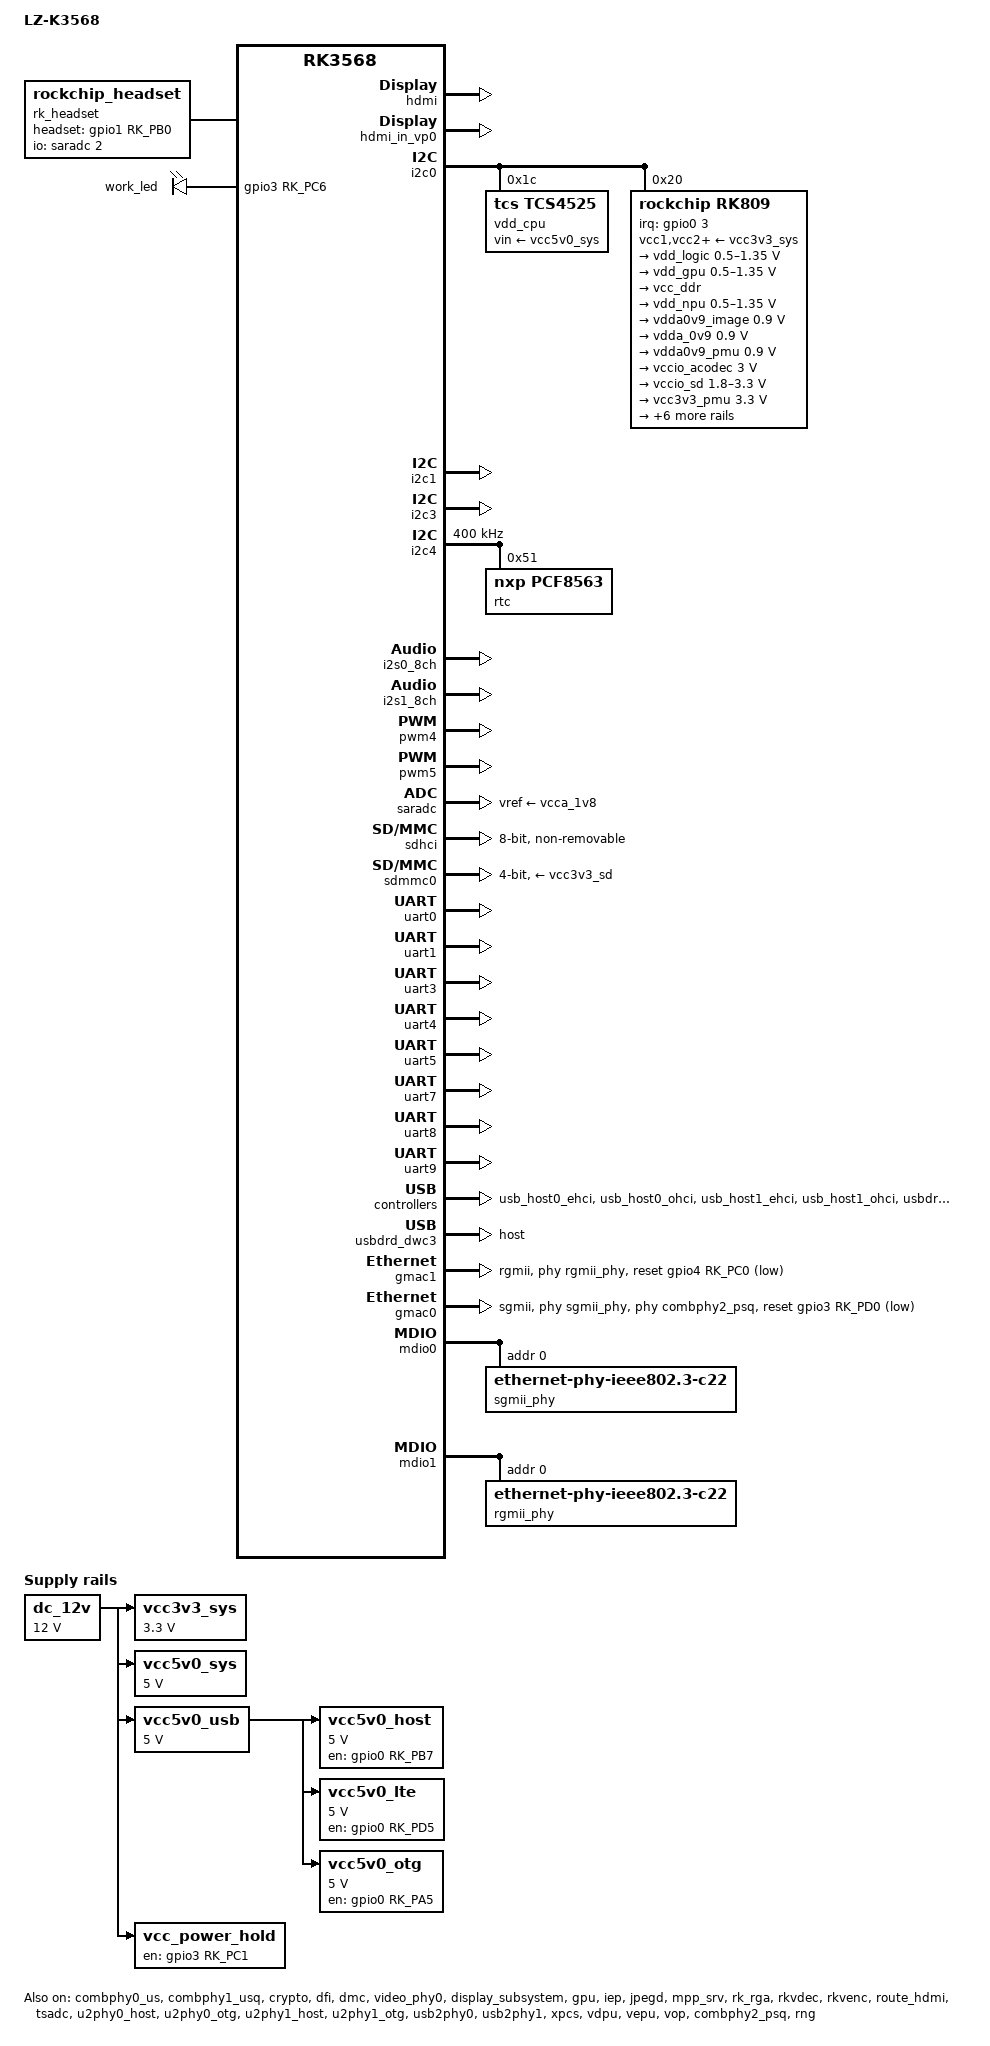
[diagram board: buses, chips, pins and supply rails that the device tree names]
/dts-v1/;
#include <dt-bindings/gpio/gpio.h>
#include <dt-bindings/pwm/pwm.h>
#include <dt-bindings/pinctrl/rockchip.h>
#include <dt-bindings/input/rk-input.h>
#include <dt-bindings/display/rockchip_vop.h>
#include <dt-bindings/sensor-dev.h>
#include "rk3568.dtsi"

#ifdef CONFIG_SYS_PROMPT
#include "rk3568-u-boot.dtsi"
#endif

/ {
	model = "LZ-K3568";
	compatible = "rockchip,rk3568-evb1-v10", "rockchip,rk3568";

	aliases {
		ethernet0 = &gmac0;
		ethernet1 = &gmac1;
		mmc0 = &sdhci;
		mmc1 = &sdmmc0;
		mmc2 = &sdmmc1;
	};

	chosen: chosen {
		bootargs = "earlycon=uart8250,mmio32,0xfe660000 console=ttyFIQ0";
	};

	fiq_debugger: fiq-debugger {
		compatible = "rockchip,fiq-debugger";
		rockchip,serial-id = <2>;
		rockchip,wake-irq = <0>;
		/* If enable uart uses irq instead of fiq */
		rockchip,irq-mode-enable = <1>;
		rockchip,baudrate = <1500000>;  /* Only 115200 and 1500000 */
		interrupts = <GIC_SPI 252 IRQ_TYPE_LEVEL_LOW>;
		pinctrl-names = "default";
		pinctrl-0 = <&uart2m0_xfer>;
		status = "okay";
	};

	debug: debug@fd904000 {
		compatible = "rockchip,debug";
		reg = <0x0 0xfd904000 0x0 0x1000>,
			<0x0 0xfd905000 0x0 0x1000>,
			<0x0 0xfd906000 0x0 0x1000>,
			<0x0 0xfd907000 0x0 0x1000>;
	};

	cspmu: cspmu@fd90c000 {
		compatible = "rockchip,cspmu";
		reg = <0x0 0xfd90c000 0x0 0x1000>,
			<0x0 0xfd90d000 0x0 0x1000>,
			<0x0 0xfd90e000 0x0 0x1000>,
			<0x0 0xfd90f000 0x0 0x1000>;
	};

	hdmi_sound: hdmi-sound {
		compatible = "simple-audio-card";
		simple-audio-card,format = "i2s";
		simple-audio-card,mclk-fs = <128>;
		simple-audio-card,name = "rockchip,hdmi";
		status = "okay";

		simple-audio-card,cpu {
				sound-dai = <&i2s0_8ch>;
		};
		simple-audio-card,codec {
				sound-dai = <&hdmi>;
		};
	};

	pdmics: dummy-codec {
		status = "disabled";
		compatible = "rockchip,dummy-codec";
		#sound-dai-cells = <0>;
	};

	pdm_mic_array: pdm-mic-array {
		status = "disabled";
		compatible = "simple-audio-card";
		simple-audio-card,name = "rockchip,pdm-mic-array";
		simple-audio-card,cpu {
			sound-dai = <&pdm>;
		};
		simple-audio-card,codec {
			sound-dai = <&pdmics>;
		};
	};

#ifndef CONFIG_SYS_PROMPT
	gmac0_xpcsclk: xpcs-gmac0-clock {
		compatible = "fixed-clock";
		clock-frequency = <125000000>;
		clock-output-names = "clk_gmac0_xpcs_mii";
		#clock-cells = <0>;
	};

	// reserved-memory {
	// 	#address-cells = <2>;
	// 	#size-cells = <2>;
	// 	ranges;

	// 	rknpu_reserved: rknpu {
	// 		compatible = "shared-dma-pool";
	// 		inactive;
	// 		reusable;
	// 		size = <0x0 0x20000000>;
	// 		alignment = <0x0 0x1000>;
	// 	};
	// };

	rk809_sound: rk809-sound {
		status = "okay";
		compatible = "simple-audio-card";
		simple-audio-card,format = "i2s";
		simple-audio-card,name = "rockchip,rk809-codec";
		simple-audio-card,mclk-fs = <256>;

		simple-audio-card,cpu {
			sound-dai = <&i2s1_8ch>;
		};
		simple-audio-card,codec {
			sound-dai = <&rk809_codec>;
		};
	};

	rk_headset: rk-headset {
		compatible = "rockchip_headset";
		headset_gpio = <&gpio1 RK_PB0 GPIO_ACTIVE_HIGH>;
		pinctrl-names = "default";
		pinctrl-0 = <&hp_det>;
		io-channels = <&saradc 2>;    //HP_HOOK pin
	};
#endif

	dc_12v: dc-12v {
		compatible = "regulator-fixed";
		regulator-name = "dc_12v";
		regulator-always-on;
		regulator-boot-on;
		regulator-min-microvolt = <12000000>;
		regulator-max-microvolt = <12000000>;
	};

	vcc3v3_sys: vcc3v3-sys {
		compatible = "regulator-fixed";
		regulator-name = "vcc3v3_sys";
		regulator-always-on;
		regulator-boot-on;
		regulator-min-microvolt = <3300000>;
		regulator-max-microvolt = <3300000>;
		vin-supply = <&dc_12v>;
	};

	vcc5v0_sys: vcc5v0-sys {
		compatible = "regulator-fixed";
		regulator-name = "vcc5v0_sys";
		regulator-always-on;
		regulator-boot-on;
		regulator-min-microvolt = <5000000>;
		regulator-max-microvolt = <5000000>;
		vin-supply = <&dc_12v>;
	};

	vcc5v0_usb: vcc5v0-usb {
		compatible = "regulator-fixed";
		regulator-name = "vcc5v0_usb";
		regulator-always-on;
		regulator-boot-on;
		regulator-min-microvolt = <5000000>;
		regulator-max-microvolt = <5000000>;
		vin-supply = <&dc_12v>;
	};

	vcc5v0_host: vcc5v0-host-regulator {
		compatible = "regulator-fixed";
		enable-active-high;
		gpio = <&gpio0 RK_PB7 GPIO_ACTIVE_HIGH>; // bsp
		pinctrl-names = "default";
		pinctrl-0 = <&vcc5v0_host_en>;
		regulator-name = "vcc5v0_host";
		regulator-min-microvolt = <5000000>;
		regulator-max-microvolt = <5000000>;
		vin-supply = <&vcc5v0_usb>;
	};

	vcc5v0_lte: vcc5v0-lte-regulator {
		compatible = "regulator-fixed";
		enable-active-high;
		regulator-always-on;
		gpio = <&gpio0 RK_PD5 GPIO_ACTIVE_HIGH>; // bsp
		pinctrl-names = "default";
		pinctrl-0 = <&vcc5v0_lte_en>;
		regulator-name = "vcc5v0_lte";
		regulator-min-microvolt = <5000000>;
		regulator-max-microvolt = <5000000>;
		vin-supply = <&vcc5v0_usb>;
	};

	vcc5v0_otg: vcc5v0-otg-regulator {
		compatible = "regulator-fixed";
		enable-active-high;
		regulator-always-on;
		gpio = <&gpio0 RK_PA5 GPIO_ACTIVE_HIGH>; // bsp
		pinctrl-names = "default";
		pinctrl-0 = <&vcc5v0_otg_en>;
		regulator-name = "vcc5v0_otg";
		regulator-min-microvolt = <5000000>;
		regulator-max-microvolt = <5000000>;
		vin-supply = <&vcc5v0_usb>;
	};

	vcc_power_hold: regulator-vcc-power-hold {
		compatible = "regulator-fixed";
		enable-active-high;
		regulator-always-on;
		gpio = <&gpio3 RK_PC1 GPIO_ACTIVE_HIGH>; // bsp
		pinctrl-names = "default";
		pinctrl-0 = <&hold_gpio>;
		regulator-name = "vcc_power_hold";
		vin-supply = <&dc_12v>;
	};

	gpio_leds: gpio-leds {
		compatible = "gpio-leds";
		status = "okay";

		work_led: work-led {
			gpios = <&gpio3 RK_PC6 GPIO_ACTIVE_HIGH>; // bsp
			linux,default-trigger = "heartbeat";
			pinctrl-names = "default";
			pinctrl-0 = <&led_work_en>;
		};
	};
};

&combphy0_us {
	status = "okay";
};

&combphy1_usq {
	status = "okay";
};

&cpu0 {
	cpu-supply = <&vdd_cpu>;
};

&crypto {
        status = "okay";
};

#ifndef CONFIG_SYS_PROMPT
&dfi {
	status = "okay";
};

&dmc {
	center-supply = <&vdd_logic>;
	status = "okay";
};
#endif

&video_phy0 {
	status = "okay";
};

&video_phy1 {
	status = "disabled";
};

&display_subsystem {
    status = "okay";
};

&gpu {
	clock-names = "gpu", "bus";
	interrupt-names = "gpu", "mmu", "job";
	mali-supply = <&vdd_gpu>;
	status = "okay";
};

&hdmi {
	status = "okay";
	pinctrl-0 = <&hdmitx_scl &hdmitx_sda &hdmitxm1_cec>;
};

&hdmi_in_vp0 {
	status = "okay";
};

&hdmi_in_vp1 {
	status = "disabled";
};

&hdmi_sound {
	status = "okay";
};

&i2c0 {
	status = "okay";

	vdd_cpu: tcs4525@1c {
		compatible = "tcs,tcs4525";
		reg = <0x1c>;
		vin-supply = <&vcc5v0_sys>;
		regulator-compatible = "fan53555-reg";
		regulator-name = "vdd_cpu";
		regulator-min-microvolt = <712500>;
		regulator-max-microvolt = <1390000>;
		regulator-init-microvolt = <900000>;
		regulator-ramp-delay = <2300>;
		fcs,suspend-voltage-selector = <1>;
		regulator-boot-on;
		regulator-always-on;
		
		regulator-state-mem {
			regulator-off-in-suspend;
		};
	};

	rk809: pmic@20 {
		compatible = "rockchip,rk809";
		reg = <0x20>;
		interrupt-parent = <&gpio0>;
		interrupts = <3 IRQ_TYPE_LEVEL_LOW>;

		pinctrl-names = "default", "pmic-sleep",
				"pmic-power-off", "pmic-reset";
		pinctrl-0 = <&pmic_int>;
		pinctrl-1 = <&soc_slppin_slp>, <&rk817_slppin_slp>;
		pinctrl-2 = <&soc_slppin_gpio>, <&rk817_slppin_pwrdn>;
		pinctrl-3 = <&soc_slppin_gpio>, <&rk817_slppin_rst>;

		rockchip,system-power-controller;
		wakeup-source;
		#clock-cells = <1>;
		clock-output-names = "rk808-clkout1", "rk808-clkout2";
		//fb-inner-reg-idxs = <2>;
		/* 1: rst regs (default in codes), 0: rst the pmic */
		pmic-reset-func = <0>;
		/* not save the PMIC_POWER_EN register in uboot */
		not-save-power-en = <1>;

		vcc1-supply = <&vcc3v3_sys>;
		vcc2-supply = <&vcc3v3_sys>;
		vcc3-supply = <&vcc3v3_sys>;
		vcc4-supply = <&vcc3v3_sys>;
		vcc5-supply = <&vcc3v3_sys>;
		vcc6-supply = <&vcc3v3_sys>;
		vcc7-supply = <&vcc3v3_sys>;
		vcc8-supply = <&vcc3v3_sys>;
		vcc9-supply = <&vcc3v3_sys>;

		pwrkey {
			status = "okay";
		};

		pinctrl_rk8xx: pinctrl_rk8xx {
			gpio-controller;
			#gpio-cells = <2>;

			rk817_slppin_null: rk817_slppin_null {
				pins = "gpio_slp";
				function = "pin_fun0";
			};

			rk817_slppin_slp: rk817_slppin_slp {
				pins = "gpio_slp";
				function = "pin_fun1";
			};

			rk817_slppin_pwrdn: rk817_slppin_pwrdn {
				pins = "gpio_slp";
				function = "pin_fun2";
			};

			rk817_slppin_rst: rk817_slppin_rst {
				pins = "gpio_slp";
				function = "pin_fun3";
			};
		};

		regulators {
			vdd_logic: DCDC_REG1 {
				regulator-always-on;
				regulator-boot-on;
				regulator-min-microvolt = <500000>;
				regulator-max-microvolt = <1350000>;
				regulator-init-microvolt = <900000>;
				regulator-ramp-delay = <6001>;
				regulator-initial-mode = <0x2>;
				regulator-name = "vdd_logic";
				regulator-state-mem {
					regulator-off-in-suspend;
				};
			};

			vdd_gpu: DCDC_REG2 {
				regulator-always-on;
				regulator-boot-on;
				regulator-min-microvolt = <500000>;
				regulator-max-microvolt = <1350000>;
				regulator-init-microvolt = <900000>;
				regulator-ramp-delay = <6001>;
				regulator-initial-mode = <0x2>;
				regulator-name = "vdd_gpu";
				regulator-state-mem {
					regulator-off-in-suspend;
				};
			};

			vcc_ddr: DCDC_REG3 {
				regulator-always-on;
				regulator-boot-on;
				regulator-initial-mode = <0x2>;
				regulator-name = "vcc_ddr";
				regulator-state-mem {
					regulator-on-in-suspend;
				};
			};

			vdd_npu: DCDC_REG4 {
				regulator-always-on;
				regulator-boot-on;
				regulator-min-microvolt = <500000>;
				regulator-max-microvolt = <1350000>;
				regulator-init-microvolt = <900000>;
				regulator-ramp-delay = <6001>;
				regulator-initial-mode = <0x2>;
				regulator-name = "vdd_npu";
				regulator-state-mem {
					regulator-off-in-suspend;
				};
			};

			vdda0v9_image: LDO_REG1 {
				regulator-boot-on;
				regulator-always-on;
				regulator-min-microvolt = <900000>;
				regulator-max-microvolt = <900000>;
				regulator-name = "vdda0v9_image";
				regulator-state-mem {
					regulator-off-in-suspend;
				};
			};

			vdda_0v9: LDO_REG2 {
				regulator-always-on;
				regulator-boot-on;
				regulator-min-microvolt = <900000>;
				regulator-max-microvolt = <900000>;
				regulator-name = "vdda_0v9";
				regulator-state-mem {
					regulator-off-in-suspend;
				};
			};

			vdda0v9_pmu: LDO_REG3 {
				regulator-always-on;
				regulator-boot-on;
				regulator-min-microvolt = <900000>;
				regulator-max-microvolt = <900000>;
				regulator-name = "vdda0v9_pmu";
				regulator-state-mem {
					regulator-on-in-suspend;
					regulator-suspend-microvolt = <900000>;
				};
			};

			vccio_acodec: LDO_REG4 {
				regulator-always-on;
				regulator-boot-on;
				regulator-min-microvolt = <3000000>;
				regulator-max-microvolt = <3000000>;
				regulator-name = "vccio_acodec";
				regulator-state-mem {
					regulator-off-in-suspend;
				};
			};

			vccio_sd: LDO_REG5 {
				regulator-always-on;
				regulator-boot-on;
				regulator-min-microvolt = <1800000>;
				regulator-max-microvolt = <3300000>;
				regulator-name = "vccio_sd";
				regulator-state-mem {
					regulator-off-in-suspend;
				};
			};

			vcc3v3_pmu: LDO_REG6 {
				regulator-always-on;
				regulator-boot-on;
				regulator-min-microvolt = <3300000>;
				regulator-max-microvolt = <3300000>;
				regulator-name = "vcc3v3_pmu";
				regulator-state-mem {
					regulator-on-in-suspend;
					regulator-suspend-microvolt = <3300000>;
				};
			};

			vcca_1v8: LDO_REG7 {
				regulator-always-on;
				regulator-boot-on;
				regulator-min-microvolt = <1800000>;
				regulator-max-microvolt = <1800000>;
				regulator-name = "vcca_1v8";
				regulator-state-mem {
					regulator-off-in-suspend;
				};
			};

			vcca1v8_pmu: LDO_REG8 {
				regulator-always-on;
				regulator-boot-on;
				regulator-min-microvolt = <1800000>;
				regulator-max-microvolt = <1800000>;
				regulator-name = "vcca1v8_pmu";
				regulator-state-mem {
					regulator-on-in-suspend;
					regulator-suspend-microvolt = <1800000>;
				};
			};

			vcca1v8_image: LDO_REG9 {
				regulator-always-on;
				regulator-boot-on;
				regulator-min-microvolt = <1800000>;
				regulator-max-microvolt = <1800000>;
				regulator-name = "vcca1v8_image";
				regulator-state-mem {
					regulator-off-in-suspend;
				};
			};

			vcc_1v8: DCDC_REG5 {
				regulator-always-on;
				regulator-boot-on;
				regulator-min-microvolt = <1800000>;
				regulator-max-microvolt = <1800000>;
				regulator-name = "vcc_1v8";
				regulator-state-mem {
					regulator-off-in-suspend;
				};
			};

			vcc_3v3: SWITCH_REG1 {
				regulator-always-on;
				regulator-boot-on;
				regulator-name = "vcc_3v3";
				regulator-state-mem {
					regulator-off-in-suspend;
				};
			};

			vcc3v3_sd: SWITCH_REG2 {
				regulator-always-on;
				regulator-boot-on;
				regulator-name = "vcc3v3_sd";
				regulator-state-mem {
					regulator-off-in-suspend;
				};
			};
		};

#ifndef CONFIG_SYS_PROMPT
		rk809_codec: codec {
			#sound-dai-cells = <0>;
			compatible = "rockchip,rk809-codec", "rockchip,rk817-codec";
			clocks = <&cru I2S1_MCLKOUT>;
			clock-names = "mclk";
			assigned-clocks = <&cru I2S1_MCLKOUT>, <&cru I2S1_MCLK_TX_IOE>;
			assigned-clock-rates = <12288000>;
			assigned-clock-parents = <&cru I2S1_MCLKOUT_TX>, <&cru I2S1_MCLKOUT_TX>;
			pinctrl-names = "default";
			pinctrl-0 = <&i2s1m0_mclk>;
			hp-volume = <20>;
			spk-volume = <3>;
			mic-in-differential;
			status = "okay";
		};
#endif
	};
};

&i2c1 {
	status = "okay";
};

// rk628_csi
&i2c3 {
	status = "okay";
};

&i2c4 {
	status = "okay";
	clock-frequency = <400000>;

	rtc: rtc@51 {
		compatible = "nxp,pcf8563";
		reg = <0x51>;
		#clock-cells = <0>;
	};
};

#ifndef CONFIG_SYS_PROMPT
&i2s0_8ch {
	status = "okay";
};

&i2s1_8ch {
	status = "okay";
	rockchip,clk-trcm = <1>;
	pinctrl-names = "default";
	pinctrl-0 = <&i2s1m0_sclktx
			&i2s1m0_lrcktx
			&i2s1m0_sdi0
			&i2s1m0_sdo0>;
};
#endif

&iep {
	status = "okay";
};

&iep_mmu {
	status = "okay";
};

&jpegd {
	status = "okay";
};

&jpegd_mmu {
	status = "okay";
};

&mpp_srv {
	status = "okay";
};

&pinctrl {
	headphone {
		hp_det: hp-det {
			rockchip,pins = <1 RK_PB0 RK_FUNC_GPIO &pcfg_pull_down>;
		};
	};

	leds {
		led_work_en: led_work_en {
			rockchip,pins = <3 RK_PC6 RK_FUNC_GPIO &pcfg_pull_none>; // bsp
		};
	};

	pmic {
		pmic_int: pmic_int {
			rockchip,pins =
				<0 RK_PA3 RK_FUNC_GPIO &pcfg_pull_up>;
		};

		soc_slppin_gpio: soc_slppin_gpio {
			rockchip,pins =
				<0 RK_PA2 RK_FUNC_GPIO &pcfg_output_low>;
		};

		soc_slppin_slp: soc_slppin_slp {
			rockchip,pins =
				<0 RK_PA2 1 &pcfg_pull_none>;
		};

		soc_slppin_rst: soc_slppin_rst {
			rockchip,pins =
				<0 RK_PA2 2 &pcfg_pull_none>;
		};
	};

	usb {
		vcc5v0_host_en: vcc5v0-host-en {
			rockchip,pins = <0 RK_PB7 RK_FUNC_GPIO &pcfg_pull_none>; // bsp
		};
		vcc5v0_lte_en: vcc5v0_lte_en {
			rockchip,pins = <0 RK_PD5 RK_FUNC_GPIO &pcfg_pull_none>; // bsp
		};
		vcc5v0_lte_rst: vcc5v0_lte_rst {
			rockchip,pins = <0 RK_PD6 RK_FUNC_GPIO &pcfg_pull_none>; // bsp
		};
		vcc5v0_otg_en: vcc5v0-otg-en {
			rockchip,pins = <0 RK_PA5 RK_FUNC_GPIO &pcfg_pull_none>; // bsp
		};
	};

	pwr-hold {
		hold_gpio: hold-gpio {
			rockchip,pins = <3 RK_PC1 RK_FUNC_GPIO &pcfg_pull_none>; // bsp
		};
	};

	bl {
		lcd_bl_en: lcd-bl-en {
			rockchip,pins = <3 RK_PA1 RK_FUNC_GPIO &pcfg_pull_none>; // bsp
		};
		lcd_bl1_en: lcd-bl1-en {
			rockchip,pins = <2 RK_PD5 RK_FUNC_GPIO &pcfg_pull_none>; // bsp
		};
	};

	msic {
		gpio_k1: gpio_k1 {
			rockchip,pins = <2 RK_PD0 RK_FUNC_GPIO &pcfg_pull_none>;
		};
		gpio_k2: gpio_k2 {
			rockchip,pins = <3 RK_PB3 RK_FUNC_GPIO &pcfg_pull_none>;
		};
		gpio_k3: gpio_k3 {
			rockchip,pins = <2 RK_PD1 RK_FUNC_GPIO &pcfg_pull_none>;
		};
		gpio_k4: gpio_k4 {
			rockchip,pins = <3 RK_PB4 RK_FUNC_GPIO &pcfg_pull_none>;
		};
		gpio_k5: gpio_k5 {
			rockchip,pins = <2 RK_PD2 RK_FUNC_GPIO &pcfg_pull_none>;
		};
		gpio_k6: gpio_k6 {
			rockchip,pins = <3 RK_PB5 RK_FUNC_GPIO &pcfg_pull_none>;
		};
		gpio_k7: gpio_k7 {
			rockchip,pins = <2 RK_PD3 RK_FUNC_GPIO &pcfg_pull_none>;
		};
		gpio_k8: gpio_k8 {
			rockchip,pins = <3 RK_PB6 RK_FUNC_GPIO &pcfg_pull_none>;
		};
	};
};

 /*
  * There are 10 independent IO domains in RK3566/RK3568, including PMUIO[0:2] and VCCIO[1:7].
  * 1/ PMUIO0 and PMUIO1 are fixed-level power domains which cannot be configured;
  * 2/ PMUIO2 and VCCIO1,VCCIO[3:7] domains require that their hardware power supply voltages
  *    must be consistent with the software configuration correspondingly
  *	a/ When the hardware IO level is connected to 1.8V, the software voltage configuration
  *	   should also be configured to 1.8V accordingly;
  *	b/ When the hardware IO level is connected to 3.3V, the software voltage configuration
  *	   should also be configured to 3.3V accordingly;
  * 3/ VCCIO2 voltage control selection (0xFDC20140)
  *	BIT[0]: 0x0: from GPIO_0A7 (default)
  *	BIT[0]: 0x1: from GRF
  *    Default is determined by Pin FLASH_VOL_SEL/GPIO0_A7:
  *	L:VCCIO2 must supply 3.3V
  *	H:VCCIO2 must supply 1.8V
  */
&pmu_io_domains {
	status = "okay";
	pmuio2-supply = <&vcc3v3_pmu>;
	vccio1-supply = <&vccio_acodec>;
	vccio3-supply = <&vccio_sd>;
	vccio4-supply = <&vcc_3v3>;
	vccio5-supply = <&vcc_3v3>;
	vccio6-supply = <&vcc_3v3>;
	vccio7-supply = <&vcc_3v3>;
};

&pwm4 {
	status = "okay"; // bl
};

&pwm5 {
	status = "okay"; // bl1
};

&rk_rga {
	status = "okay";
};

&rkvdec {
	status = "okay";
};

&rkvdec_mmu {
	status = "okay";
};

&rkvenc {
	venc-supply = <&vdd_logic>;
	status = "okay";
};

&rkvenc_mmu {
	status = "okay";
};

#ifndef CONFIG_SYS_PROMPT
// rockchip-pm-domain fdd90000.power-management:power-controller: failed to get ack on domain 'npu'
// &bus_npu {
// 	bus-supply = <&vdd_logic>;
// 	pvtm-supply = <&vdd_cpu>;
// 	status = "okay";
// };

// &rknpu {
// 	memory-region = <&rknpu_reserved>;
// 	rknpu-supply = <&vdd_npu>;
// 	status = "okay";
// };

// &rknpu_mmu {
// 	status = "okay";
// };

&route_hdmi {
	status = "okay";
	connect = <&vp0_out_hdmi>;
};
#endif

&saradc {
	status = "okay";
	vref-supply = <&vcca_1v8>;
};

&sdhci {
	bus-width = <8>;
	supports-emmc;
	non-removable;
	max-frequency = <200000000>;
	status = "okay";
};

&sdmmc0 {
	max-frequency = <150000000>;
	supports-sd;
	bus-width = <4>;
	cap-mmc-highspeed;
	cap-sd-highspeed;
	disable-wp;
	sd-uhs-sdr104;
	vmmc-supply = <&vcc3v3_sd>;
	vqmmc-supply = <&vccio_sd>;
	pinctrl-names = "default";
	pinctrl-0 = <&sdmmc0_bus4 &sdmmc0_clk &sdmmc0_cmd &sdmmc0_det>;
	status = "okay";
};

&uart0 {
	status = "okay"; // bsp
};

#ifndef CONFIG_SYS_PROMPT
&uart1 {
	status = "okay"; // bsp
	pinctrl-names = "default";
	pinctrl-0 = <&uart1m0_xfer &uart1m0_ctsn>;
};
#endif

// conflict with fiq-debugger
// &uart2 {
// 	status = "okay";
// };

&uart3 {
	pinctrl-0 = <&uart3m1_xfer>; // bsp
	status = "okay";
};

&uart4 {
	pinctrl-0 = <&uart4m1_xfer>; // bsp
	status = "okay";
};

&uart5 {
	pinctrl-0 = <&uart5m1_xfer>; // bsp
	status = "okay";
};

// conflict with TF
// &uart6 {};

&uart7 {
	pinctrl-0 = <&uart7m1_xfer>; // bsp
	status = "okay";
};

&uart8 {
	pinctrl-0 = <&uart8m1_xfer>; // bsp
	status = "okay";
};

&uart9 {
	pinctrl-0 = <&uart9m1_xfer>; // bsp
	status = "okay";
};

// &can1 {
// 	pinctrl-0 = <&can1m1_pins>; // bsp
// 	status = "okay";
// };

// &can2 {
// 	pinctrl-0 = <&can2m0_pins>; // bsp
// 	status = "okay";
// };

&tsadc {
	status = "okay";
};

&u2phy0_host {
	phy-supply = <&vcc5v0_host>;
	status = "okay";
};

&u2phy0_otg {
	vbus-supply = <&vcc5v0_otg>;
	status = "okay";
};

&u2phy1_host {
	phy-supply = <&vcc5v0_host>;
	status = "okay";
};

&u2phy1_otg {
	phy-supply = <&vcc5v0_host>;
	status = "okay";
};

&usb2phy0 {
	status = "okay";
};

&usb2phy1 {
	status = "okay";
};

&usb_host0_ehci {
	status = "okay";
};

&usb_host0_ohci {
	status = "okay";
};

&usb_host1_ehci {
	status = "okay";
};

&usb_host1_ohci {
	status = "okay";
};

&usbdrd_dwc3 {
	dr_mode = "host";
	extcon = <&usb2phy0>;
	status = "okay";
};

&usbdrd30 {
	status = "okay";
};

&usbhost_dwc3 {
	status = "okay";
};

&usbhost30 {
	status = "okay";
};

#ifndef CONFIG_SYS_PROMPT
&xpcs {
	status = "okay";
};
#endif

&vdpu {
	status = "okay";
};

&vdpu_mmu {
	status = "okay";
};

&vepu {
	status = "okay";
};

&vepu_mmu {
	status = "okay";
};

&vop {
	status = "okay";
	assigned-clocks = <&cru DCLK_VOP0>, <&cru DCLK_VOP1>;
	assigned-clock-parents = <&pmucru PLL_HPLL>, <&cru PLL_VPLL>;
};

&vop_mmu {
	status = "okay";
};

&gmac1 {
	assigned-clocks = <&cru SCLK_GMAC1_RX_TX>, <&cru SCLK_GMAC1>;
	assigned-clock-parents = <&cru SCLK_GMAC1_RGMII_SPEED>;
	assigned-clock-rates = <0>, <125000000>;
	clock_in_out = "output";
	phy-handle = <&rgmii_phy>;
	phy-mode = "rgmii";
	pinctrl-names = "default";
	pinctrl-0 = <&gmac1m1_miim
			&gmac1m1_tx_bus2
			&gmac1m1_rx_bus2
			&gmac1m1_rgmii_clk
			&gmac1m1_rgmii_bus>;
	snps,reset-gpio = <&gpio4 RK_PC0 GPIO_ACTIVE_LOW>; // bsp
	snps,reset-active-low;
	snps,reset-delays-us = <0 20000 100000>;
	tx_delay = <0x4e>;
	rx_delay = <0x0b>;
	status = "okay";
};

#ifndef CONFIG_SYS_PROMPT
&gmac0 {
	phy-mode = "sgmii";

	rockchip,pipegrf = <&pipegrf>;
	rockchip,xpcs = <&xpcs>;

	snps,reset-gpio = <&gpio3 RK_PD0 GPIO_ACTIVE_LOW>;
	snps,reset-active-low;
	snps,reset-delays-us = <0 20000 100000>;

	assigned-clocks = <&cru SCLK_GMAC0_RX_TX>;
	assigned-clock-parents = <&gmac0_xpcsclk>;

	pinctrl-names = "default";
	pinctrl-0 = <&gmac0_miim>;

	power-domains = <&power RK3568_PD_PIPE>;
	phys = <&combphy2_psq PHY_TYPE_SGMII>;
	phy-handle = <&sgmii_phy>;
	status = "okay";
};
#endif

&combphy2_psq {
	status = "okay";
	rockchip,sgmii-mac-sel = <0>; /* Use gmac0 for sgmii */
};

&mdio0 {
	sgmii_phy: ethernet-phy@0 {
		compatible = "ethernet-phy-ieee802.3-c22";
		reg = <0x0>;
	};
};

&mdio1 {
	rgmii_phy: ethernet-phy@0 {
		compatible = "ethernet-phy-ieee802.3-c22";
		reg = <0x0>;
	};
};

#ifndef CONFIG_SYS_PROMPT
&reserved_memory {
	ramoops: ramoops@110000 {
		compatible = "ramoops";
		reg = <0x0 0x110000 0x0 0xf0000>;
		record-size = <0x20000>;
		console-size = <0x80000>;
		ftrace-size = <0x00000>;
		pmsg-size = <0x50000>;
	};
};
#endif

&rng {
	status = "okay";
};

#ifndef CONFIG_SYS_PROMPT
&rockchip_suspend {
	status = "okay";
};

&vp0 {
	rockchip,plane-mask = <(1 << ROCKCHIP_VOP2_CLUSTER0 | 1 << ROCKCHIP_VOP2_ESMART0)>;
	rockchip,primary-plane = <ROCKCHIP_VOP2_ESMART0>;
};
#endif
